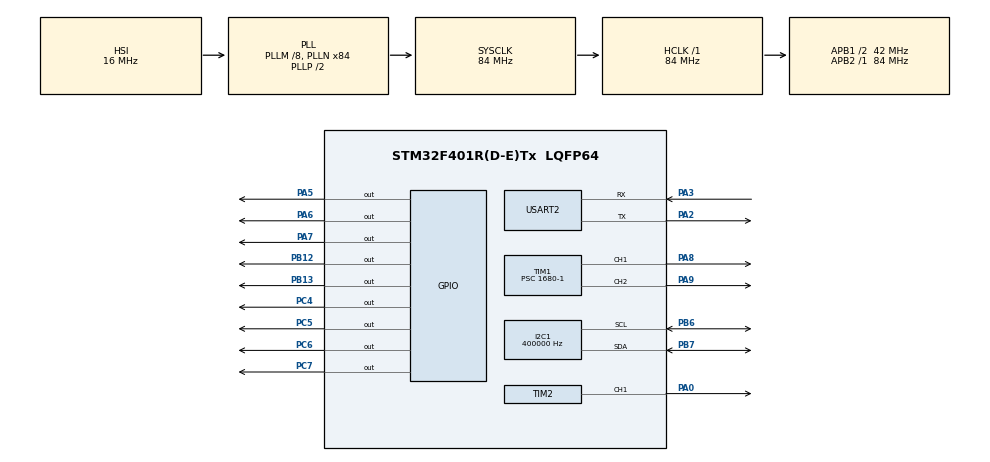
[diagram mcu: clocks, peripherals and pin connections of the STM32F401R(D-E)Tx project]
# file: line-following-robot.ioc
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I2C1.ClockSpeed=400000
I2C1.I2C_Mode=I2C_Fast
Mcu.Family=STM32F4
Mcu.Name=STM32F401R(D-E)Tx
Mcu.Package=LQFP64
NVIC.PriorityGroup=NVIC_PRIORITYGROUP_4
PA0-WKUP.Signal=S_TIM2_CH1_ETR
PA2.Mode=Asynchronous
PA2.Signal=USART2_TX
PA3.Mode=Asynchronous
PA3.Signal=USART2_RX
PA5.Signal=GPIO_Output
PA6.Signal=GPIO_Output
PA7.Signal=GPIO_Output
PA8.Signal=S_TIM1_CH1
PA9.Signal=S_TIM1_CH2
PB12.Signal=GPIO_Output
PB13.Signal=GPIO_Output
PB6.Mode=I2C
PB6.Signal=I2C1_SCL
PB7.Mode=I2C
PB7.Signal=I2C1_SDA
PC4.Signal=GPIO_Output
PC5.Signal=GPIO_Output
PC6.Signal=GPIO_Output
PC7.Signal=GPIO_Output
ProjectManager.HeapSize=0x200
ProjectManager.StackSize=0x400
ProjectManager.TargetToolchain=STM32CubeIDE
RCC.48MHZClocksFreq_Value=42000000
RCC.AHBFreq_Value=84000000
RCC.APB1CLKDivider=RCC_HCLK_DIV2
RCC.APB1Freq_Value=42000000
RCC.APB1TimFreq_Value=84000000
RCC.APB2Freq_Value=84000000
RCC.APB2TimFreq_Value=84000000
RCC.CortexFreq_Value=84000000
RCC.HCLKFreq_Value=84000000
RCC.HSE_VALUE=25000000
RCC.HSI_VALUE=16000000
RCC.LSE_VALUE=32768
RCC.PLLM=8
RCC.PLLN=84
RCC.SYSCLKFreq_VALUE=84000000
RCC.SYSCLKSource=RCC_SYSCLKSOURCE_PLLCLK
RCC.VCOOutputFreq_Value=168000000
SH.S_TIM1_CH1.0=TIM1_CH1,PWM Generation1 CH1
SH.S_TIM1_CH2.0=TIM1_CH2,PWM Generation2 CH2
SH.S_TIM2_CH1_ETR.0=TIM2_CH1,PWM Generation1 CH1
TIM1.Channel-PWM\ Generation1\ CH1=TIM_CHANNEL_1
TIM1.Channel-PWM\ Generation2\ CH2=TIM_CHANNEL_2
TIM1.Period=1000-1
TIM1.Prescaler=1680-1
TIM10.Prescaler=42000-1
TIM2.Channel-PWM\ Generation1\ CH1=TIM_CHANNEL_1
TIM2.Period=1000-1
TIM2.Prescaler=1680-1
USART2.VirtualMode=VM_ASYNC
VP_TIM10_VS_ClockSourceINT.Mode=Enable_Timer
VP_TIM1_VS_ClockSourceINT.Mode=Internal
VP_TIM2_VS_ClockSourceINT.Mode=Internal
board=custom

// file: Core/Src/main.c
/* USER CODE BEGIN Header */
/**
  ******************************************************************************
  * @file           : main.c
  * @brief          : Main program body
  ******************************************************************************
  * @attention
  *
  * Copyright (c) 2023 STMicroelectronics.
  * All rights reserved.
  *
  * This software is licensed under terms that can be found in the LICENSE file
  * in the root directory of this software component.
  * If no LICENSE file comes with this software, it is provided AS-IS.
  *
  ******************************************************************************
  */
/* USER CODE END Header */
#include "main.h"

/* USER CODE BEGIN Includes */
#include "mg995/mg995.h"
#include "color/apds9960.h"
#include "tb6612fng/tb6612fng.h"

#include "state_machine.h"
#include "colour_sensor.h"

#include "state_machine_start.h"
#include "color/apds9960.h"

#include <stdbool.h>
#include <string.h>
#include <stdio.h>

/* USER CODE END Includes */

I2C_HandleTypeDef hi2c1;

TIM_HandleTypeDef htim1;
TIM_HandleTypeDef htim2;
TIM_HandleTypeDef htim10;

UART_HandleTypeDef huart2;

void SystemClock_Config(void);
static void MX_GPIO_Init(void);
static void MX_TIM2_Init(void);
static void MX_TIM1_Init(void);
static void MX_I2C1_Init(void);
static void MX_USART2_UART_Init(void);
static void MX_TIM10_Init(void);

/* USER CODE BEGIN 0 */

/**
 * Testing Functions
 */

char msg[256];
char header[256];

static void print_raw_rgb(void) {
	rgb_cap_t raw[SENSOR_COUNT];
	readRawColourSensors(raw);

	sprintf(header, "\r\n%s\r\n", "|   1   | 	 2   |   3    |   4   |  5 |");
	HAL_UART_Transmit(&huart2, (uint8_t *)header, strlen(header), HAL_MAX_DELAY);

	for (uint8_t i = 0; i < SENSOR_COUNT; i++) {
		rgb_cap_t cap = raw[i];
		sprintf(msg, "(%hu,%hu,%hu)  |  ", cap.red, cap.green, cap.blue);
		HAL_UART_Transmit(&huart2, (uint8_t *)msg, strlen(msg), HAL_MAX_DELAY);
	}

//	// Output to .txt
//	FILE *file = fopen("raw_rgb.txt", "w");
//	if (file == NULL) {
//		//F
//		return;
//	}
//	fprintf(file, "%s\n", header);
//	fprintf(file, "%s\n", msg);
//	fclose(file);
}

static void print_processed_readings(enum Colour colour) {
	rgb_cap_t raw[SENSOR_COUNT];
	readRawColourSensors(raw);

	bool proc_readings[SENSOR_COUNT];
	processColourSensorReadings(proc_readings, raw, colour);

	sprintf(header, "\r\n%s\r\n", "|    1    |    2    |    3    |    4    |    5    |");
	HAL_UART_Transmit(&huart2, (uint8_t *)header, strlen(header), HAL_MAX_DELAY);

	for (uint8_t i = 0; i < SENSOR_COUNT; i++) {
		bool proc = proc_readings[i];
		sprintf(msg, "%s", proc ? "X  | " : "-  |  ");
		HAL_UART_Transmit(&huart2, (uint8_t *)msg, strlen(msg), HAL_MAX_DELAY);

	}

//	// Output to .txt
//	FILE *file = fopen("processed_rgb.txt", "w");
//	if (file == NULL) {
//		//F
//		return;
//	}
//	fprintf(file, "%s\n", header);
//	fprintf(file, "%s\n", msg);
//	fclose(file);

}

static void test_system(motor_t *motor_left, motor_t *motor_right) {
	// DC Motors
	/*tb6612fng_move_fwd(motor_left, motor_right, 150, 150);
	HAL_Delay(1500);
	tb6612fng_stop(motor_left, motor_right);
	HAL_Delay(1500);
	tb6612fng_move_rev(motor_left, motor_right, 150, 150);
	HAL_Delay(1500);
	tb6612fng_stop(motor_left, motor_right);
	HAL_Delay(1500);*/

	// Servo Motors
	mg995_open_claw();
	HAL_Delay(4000);
	mg995_close_claw();
	HAL_Delay(4000);

	// Read Colour Sensors

	// Colours
	// Wood:
	// Blue:
	// Green: 16 - 22, 20 - 50, 9 - 30
	// Red:

	// Test rotation

	// 200 is roughly 90 degrees
//	tb6612fng_move_fwd_single(motor_left, 205);
//	tb6612fng_move_rev_single(motor_right, 205);
//	HAL_Delay(2000);
//	tb6612fng_move_fwd_single(motor_right, 205);
//	tb6612fng_move_rev_single(motor_left, 205);
//	HAL_Delay(2000);

//	print_raw_rgb();
//	print_processed_readings(GREEN);

//	rgb_cap_t cap = {0};
//	uint16_t red_reference = 1;
//	uint16_t green_reference = 1;
//	uint16_t blue_reference = 1;
//	for (uint8_t i = 0; i < 5; i++) {
//		tcs9548a_select_channel(i);
//		cap = apds9960_read_rgb(APDS9960_I2C_ADDR);
//		sprintf(msg, "Sensor: %hu { R: %hu G: %hu B: %hu\r\n", i, cap.red/red_reference, cap.green/green_reference, cap.blue/blue_reference);
//		HAL_UART_Transmit(&huart2, (uint8_t *)msg, strlen(msg), HAL_MAX_DELAY);
//	}
}

/**
 * Device Initialization Functions
 */
static void setup_color_sensors(void) {
	for (uint8_t i = 0; i < 5; i++) {
		tcs9548a_select_channel(i);
		apds9960_color_init(APDS9960_I2C_ADDR);
	}
}

/* USER CODE END 0 */

int main(void)
{

  /* MCU Configuration--------------------------------------------------------*/

  /* Reset of all peripherals, Initializes the Flash interface and the Systick. */
  HAL_Init();

  /* Configure the system clock */
  SystemClock_Config();

  /* Initialize all configured peripherals */
  MX_GPIO_Init();
  MX_TIM2_Init();
  MX_TIM1_Init();
  MX_I2C1_Init();
  MX_USART2_UART_Init();
  MX_TIM10_Init();
  /* USER CODE BEGIN 2 */

  /**
   * Device Initializations
   *
   * 32 - Red
   *
   */

  // Start the timer base
  HAL_TIM_Base_Start(&htim10);

  // MG995 Servo Motor
  HAL_TIM_PWM_Start(&htim2, TIM_CHANNEL_1);

  // TB6612FNG Motor Driver
  HAL_TIM_PWM_Start(&htim1, TIM_CHANNEL_1);
  HAL_TIM_PWM_Start(&htim1, TIM_CHANNEL_2);

  motor_t lm = {
		  .ports = { GPIOA, GPIOA },
		  .pins = { GPIO_PIN_5, GPIO_PIN_6 },
		  .pwm_channel = TIM_CHANNEL_1
  };

  motor_t rm = {
		  .ports = { GPIOC, GPIOC },
		  .pins = { GPIO_PIN_6, GPIO_PIN_7 },
		  .pwm_channel = TIM_CHANNEL_2
  };

  // Keep STBY pin high
  HAL_GPIO_WritePin(GPIOA, GPIO_PIN_7, GPIO_PIN_SET);

  // APDS9960 Colour Sensors
  setup_color_sensors();

  // Ensure the gripper is open before starting the state machine
  mg995_close_claw();

  // Initialize robot sequence (state)
//  enum RobotSequence currentState = START;
  enum RobotSequence_start currentState_start = START_START;
//  currentState_start = ROTATE_TO_LINE_START;

  /* USER CODE END 2 */

  /* Infinite loop */
  /* USER CODE BEGIN WHILE */
//	tb6612fng_move_rev(&lm, &rm, 200 - 22, 200);
//	HAL_Delay(600);
//	tb6612fng_stop(&lm, &rm);
//	HAL_Delay(1000);
//
//	tb6612fng_move_rev_single(&lm, 100);
//	tb6612fng_move_fwd_single(&rm, 100);
//	HAL_Delay(250);
//	tb6612fng_stop(&lm, &rm);

//	 pickup(PICKUP, &lm, &rm);
//	 return;
//	tb6612fng_move_fwd_single(&lm, 200);
//	tb6612fng_move_rev_single(&rm, 200);
//	HAL_Delay(1300);
//	tb6612fng_stop(&lm, &rm);
//
//
//	return;
//  currentState = PICKUP;

//  currentState = BACKUP_FROM_TARGET;
//  currentState = DRIVE_TO_TRACK;

  while (1)
  {
    /* USER CODE END WHILE */

    /* USER CODE BEGIN 3 */

	  //CALIRBRATION TEST (MUST TURN OFFFF
//	  rgb_cap_t rawSensorReadings[5];
//	  readRawColourSensors(rawSensorReadings);
//
//	  bool processedREDSensorReadings[5];
//	  processColourSensorReadings(processedREDSensorReadings, rawSensorReadings, RED);
//	  if (processedREDSensorReadings[1]) {

//		  tb6612fng_move_fwd_single(&rm, MAX_PWM);
//	  } else {
//		  tb6612fng_move_fwd_single(&rm, 0);
//	  }
//
//	  bool processedGREENSensorReadings[5];
//	  processColourSensorReadings(processedGREENSensorReadings, rawSensorReadings, GREEN);
//	  if (processedGREENSensorReadings[1]) {
//		  tb6612fng_move_fwd_single(&lm, MAX_PWM);
//	  } else {
//		  tb6612fng_move_fwd_single(&lm, 0);
//	  }

	print_raw_rgb();
	print_processed_readings(RED);
	//print_processed_readings(GREEN);
//	print_processed_readings(BLUE);
	 stateMachine_start(&currentState_start, &lm, &rm);
//     stateMachine(&currentState, &lm, &rm);
////	  tb6612fng_move_fwd(&lm, &rm, MAX_PWM - 22, MAX_PWM);

//	  mg995_close_claw();
//	  HAL_Delay(1500);
//	  mg995_open_claw();
//HAL_Delay(1500);

//	  test_system(&lm, &rm);
  }
  /* USER CODE END 3 */
}

void SystemClock_Config(void)
{
  RCC_OscInitTypeDef RCC_OscInitStruct = {0};

  RCC_ClkInitTypeDef RCC_ClkInitStruct = {0};

  /** Configure the main internal regulator output voltage
  */
  __HAL_RCC_PWR_CLK_ENABLE();
  __HAL_PWR_VOLTAGESCALING_CONFIG(PWR_REGULATOR_VOLTAGE_SCALE2);

  /** Initializes the RCC Oscillators according to the specified parameters
  * in the RCC_OscInitTypeDef structure.
  */
  RCC_OscInitStruct.OscillatorType = RCC_OSCILLATORTYPE_HSI;
  RCC_OscInitStruct.HSIState = RCC_HSI_ON;
  RCC_OscInitStruct.HSICalibrationValue = RCC_HSICALIBRATION_DEFAULT;
  RCC_OscInitStruct.PLL.PLLState = RCC_PLL_ON;
  RCC_OscInitStruct.PLL.PLLSource = RCC_PLLSOURCE_HSI;
  RCC_OscInitStruct.PLL.PLLM = 8;
  RCC_OscInitStruct.PLL.PLLN = 84;
  RCC_OscInitStruct.PLL.PLLP = RCC_PLLP_DIV2;
  RCC_OscInitStruct.PLL.PLLQ = 4;
  if (HAL_RCC_OscConfig(&RCC_OscInitStruct) != HAL_OK)
  {
    Error_Handler();
  }

  /** Initializes the CPU, AHB and APB buses clocks
  */
  RCC_ClkInitStruct.ClockType = RCC_CLOCKTYPE_HCLK|RCC_CLOCKTYPE_SYSCLK
                              |RCC_CLOCKTYPE_PCLK1|RCC_CLOCKTYPE_PCLK2;
  RCC_ClkInitStruct.SYSCLKSource = RCC_SYSCLKSOURCE_PLLCLK;
  RCC_ClkInitStruct.AHBCLKDivider = RCC_SYSCLK_DIV1;
  RCC_ClkInitStruct.APB1CLKDivider = RCC_HCLK_DIV2;
  RCC_ClkInitStruct.APB2CLKDivider = RCC_HCLK_DIV1;

  if (HAL_RCC_ClockConfig(&RCC_ClkInitStruct, FLASH_LATENCY_2) != HAL_OK)
  {
    Error_Handler();
  }
}

static void MX_I2C1_Init(void)
{

  hi2c1.Instance = I2C1;
  hi2c1.Init.ClockSpeed = 400000;
  hi2c1.Init.DutyCycle = I2C_DUTYCYCLE_2;
  hi2c1.Init.OwnAddress1 = 0;
  hi2c1.Init.AddressingMode = I2C_ADDRESSINGMODE_7BIT;
  hi2c1.Init.DualAddressMode = I2C_DUALADDRESS_DISABLE;
  hi2c1.Init.OwnAddress2 = 0;
  hi2c1.Init.GeneralCallMode = I2C_GENERALCALL_DISABLE;
  hi2c1.Init.NoStretchMode = I2C_NOSTRETCH_DISABLE;
  if (HAL_I2C_Init(&hi2c1) != HAL_OK)
  {
    Error_Handler();
  }

}

static void MX_TIM1_Init(void)
{

  TIM_ClockConfigTypeDef sClockSourceConfig = {0};
  TIM_MasterConfigTypeDef sMasterConfig = {0};
  TIM_OC_InitTypeDef sConfigOC = {0};
  TIM_BreakDeadTimeConfigTypeDef sBreakDeadTimeConfig = {0};

  htim1.Instance = TIM1;
  htim1.Init.Prescaler = 1680-1;
  htim1.Init.CounterMode = TIM_COUNTERMODE_UP;
  htim1.Init.Period = 1000-1;
  htim1.Init.ClockDivision = TIM_CLOCKDIVISION_DIV1;
  htim1.Init.RepetitionCounter = 0;
  htim1.Init.AutoReloadPreload = TIM_AUTORELOAD_PRELOAD_DISABLE;
  if (HAL_TIM_Base_Init(&htim1) != HAL_OK)
  {
    Error_Handler();
  }
  sClockSourceConfig.ClockSource = TIM_CLOCKSOURCE_INTERNAL;
  if (HAL_TIM_ConfigClockSource(&htim1, &sClockSourceConfig) != HAL_OK)
  {
    Error_Handler();
  }
  if (HAL_TIM_PWM_Init(&htim1) != HAL_OK)
  {
    Error_Handler();
  }
  sMasterConfig.MasterOutputTrigger = TIM_TRGO_RESET;
  sMasterConfig.MasterSlaveMode = TIM_MASTERSLAVEMODE_DISABLE;
  if (HAL_TIMEx_MasterConfigSynchronization(&htim1, &sMasterConfig) != HAL_OK)
  {
    Error_Handler();
  }
  sConfigOC.OCMode = TIM_OCMODE_PWM1;
  sConfigOC.Pulse = 0;
  sConfigOC.OCPolarity = TIM_OCPOLARITY_HIGH;
  sConfigOC.OCNPolarity = TIM_OCNPOLARITY_HIGH;
  sConfigOC.OCFastMode = TIM_OCFAST_DISABLE;
  sConfigOC.OCIdleState = TIM_OCIDLESTATE_RESET;
  sConfigOC.OCNIdleState = TIM_OCNIDLESTATE_RESET;
  if (HAL_TIM_PWM_ConfigChannel(&htim1, &sConfigOC, TIM_CHANNEL_1) != HAL_OK)
  {
    Error_Handler();
  }
  if (HAL_TIM_PWM_ConfigChannel(&htim1, &sConfigOC, TIM_CHANNEL_2) != HAL_OK)
  {
    Error_Handler();
  }
  sBreakDeadTimeConfig.OffStateRunMode = TIM_OSSR_DISABLE;
  sBreakDeadTimeConfig.OffStateIDLEMode = TIM_OSSI_DISABLE;
  sBreakDeadTimeConfig.LockLevel = TIM_LOCKLEVEL_OFF;
  sBreakDeadTimeConfig.DeadTime = 0;
  sBreakDeadTimeConfig.BreakState = TIM_BREAK_DISABLE;
  sBreakDeadTimeConfig.BreakPolarity = TIM_BREAKPOLARITY_HIGH;
  sBreakDeadTimeConfig.AutomaticOutput = TIM_AUTOMATICOUTPUT_DISABLE;
  if (HAL_TIMEx_ConfigBreakDeadTime(&htim1, &sBreakDeadTimeConfig) != HAL_OK)
  {
    Error_Handler();
  }
  HAL_TIM_MspPostInit(&htim1);

}

static void MX_TIM2_Init(void)
{

  TIM_ClockConfigTypeDef sClockSourceConfig = {0};
  TIM_MasterConfigTypeDef sMasterConfig = {0};
  TIM_OC_InitTypeDef sConfigOC = {0};

  htim2.Instance = TIM2;
  htim2.Init.Prescaler = 1680-1;
  htim2.Init.CounterMode = TIM_COUNTERMODE_UP;
  htim2.Init.Period = 1000-1;
  htim2.Init.ClockDivision = TIM_CLOCKDIVISION_DIV1;
  htim2.Init.AutoReloadPreload = TIM_AUTORELOAD_PRELOAD_DISABLE;
  if (HAL_TIM_Base_Init(&htim2) != HAL_OK)
  {
    Error_Handler();
  }
  sClockSourceConfig.ClockSource = TIM_CLOCKSOURCE_INTERNAL;
  if (HAL_TIM_ConfigClockSource(&htim2, &sClockSourceConfig) != HAL_OK)
  {
    Error_Handler();
  }
  if (HAL_TIM_PWM_Init(&htim2) != HAL_OK)
  {
    Error_Handler();
  }
  sMasterConfig.MasterOutputTrigger = TIM_TRGO_RESET;
  sMasterConfig.MasterSlaveMode = TIM_MASTERSLAVEMODE_DISABLE;
  if (HAL_TIMEx_MasterConfigSynchronization(&htim2, &sMasterConfig) != HAL_OK)
  {
    Error_Handler();
  }
  sConfigOC.OCMode = TIM_OCMODE_PWM1;
  sConfigOC.Pulse = 0;
  sConfigOC.OCPolarity = TIM_OCPOLARITY_HIGH;
  sConfigOC.OCFastMode = TIM_OCFAST_DISABLE;
  if (HAL_TIM_PWM_ConfigChannel(&htim2, &sConfigOC, TIM_CHANNEL_1) != HAL_OK)
  {
    Error_Handler();
  }
  HAL_TIM_MspPostInit(&htim2);

}

static void MX_TIM10_Init(void)
{

  htim10.Instance = TIM10;
  htim10.Init.Prescaler = 42000-1;
  htim10.Init.CounterMode = TIM_COUNTERMODE_UP;
  htim10.Init.Period = 65535;
  htim10.Init.ClockDivision = TIM_CLOCKDIVISION_DIV1;
  htim10.Init.AutoReloadPreload = TIM_AUTORELOAD_PRELOAD_DISABLE;
  if (HAL_TIM_Base_Init(&htim10) != HAL_OK)
  {
    Error_Handler();
  }

}

static void MX_USART2_UART_Init(void)
{

  huart2.Instance = USART2;
  huart2.Init.BaudRate = 115200;
  huart2.Init.WordLength = UART_WORDLENGTH_8B;
  huart2.Init.StopBits = UART_STOPBITS_1;
  huart2.Init.Parity = UART_PARITY_NONE;
  huart2.Init.Mode = UART_MODE_TX_RX;
  huart2.Init.HwFlowCtl = UART_HWCONTROL_NONE;
  huart2.Init.OverSampling = UART_OVERSAMPLING_16;
  if (HAL_UART_Init(&huart2) != HAL_OK)
  {
    Error_Handler();
  }

}

static void MX_GPIO_Init(void)
{
  GPIO_InitTypeDef GPIO_InitStruct = {0};

  /* GPIO Ports Clock Enable */
  __HAL_RCC_GPIOA_CLK_ENABLE();
  __HAL_RCC_GPIOC_CLK_ENABLE();
  __HAL_RCC_GPIOB_CLK_ENABLE();

  /*Configure GPIO pin Output Level */
  HAL_GPIO_WritePin(GPIOA, GPIO_PIN_5|GPIO_PIN_6|GPIO_PIN_7, GPIO_PIN_RESET);

  /*Configure GPIO pin Output Level */
  HAL_GPIO_WritePin(GPIOC, GPIO_PIN_4|GPIO_PIN_5|GPIO_PIN_6|GPIO_PIN_7, GPIO_PIN_RESET);

  /*Configure GPIO pin Output Level */
  HAL_GPIO_WritePin(GPIOB, GPIO_PIN_12|GPIO_PIN_13, GPIO_PIN_RESET);

  /*Configure GPIO pins : PA5 PA6 PA7 */
  GPIO_InitStruct.Pin = GPIO_PIN_5|GPIO_PIN_6|GPIO_PIN_7;
  GPIO_InitStruct.Mode = GPIO_MODE_OUTPUT_PP;
  GPIO_InitStruct.Pull = GPIO_NOPULL;
  GPIO_InitStruct.Speed = GPIO_SPEED_FREQ_LOW;
  HAL_GPIO_Init(GPIOA, &GPIO_InitStruct);

  /*Configure GPIO pins : PC4 PC5 PC6 PC7 */
  GPIO_InitStruct.Pin = GPIO_PIN_4|GPIO_PIN_5|GPIO_PIN_6|GPIO_PIN_7;
  GPIO_InitStruct.Mode = GPIO_MODE_OUTPUT_PP;
  GPIO_InitStruct.Pull = GPIO_NOPULL;
  GPIO_InitStruct.Speed = GPIO_SPEED_FREQ_LOW;
  HAL_GPIO_Init(GPIOC, &GPIO_InitStruct);

  /*Configure GPIO pins : PB12 PB13 */
  GPIO_InitStruct.Pin = GPIO_PIN_12|GPIO_PIN_13;
  GPIO_InitStruct.Mode = GPIO_MODE_OUTPUT_PP;
  GPIO_InitStruct.Pull = GPIO_NOPULL;
  GPIO_InitStruct.Speed = GPIO_SPEED_FREQ_LOW;
  HAL_GPIO_Init(GPIOB, &GPIO_InitStruct);

}

void Error_Handler(void)
{
  __disable_irq();
  while (1)
  {
  }
}
